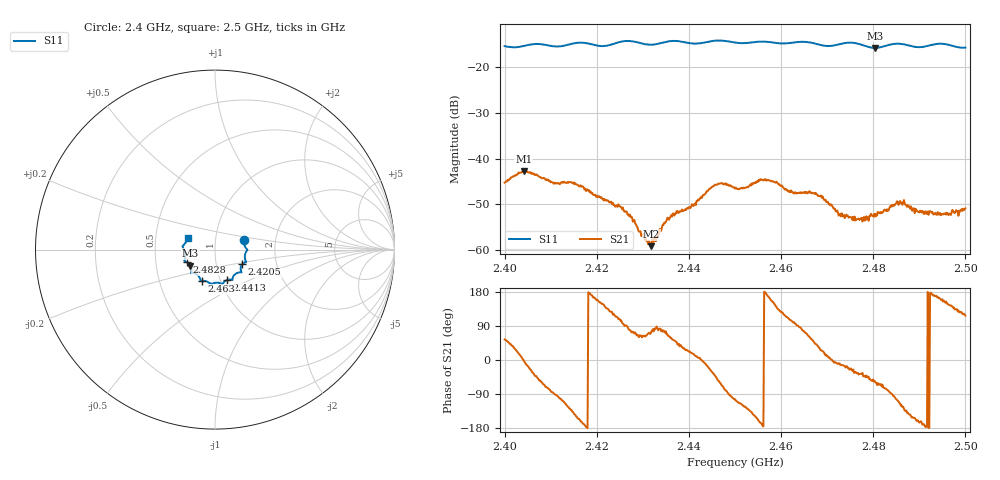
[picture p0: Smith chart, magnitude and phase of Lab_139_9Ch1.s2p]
# Hz S RI R 50
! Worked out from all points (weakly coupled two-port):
!   601 points, 2.4 GHz to 2.5 GHz, reference 50 ohm
!   highest |S21| = -42.68 dB at 2.4042 GHz (marker M1); lowest = -59.1 dB at 2.4318 GHz (marker M2)
!   lowest |S11| = -15.7 dB at 2.4803 GHz (marker M3), VSWR 1.39, Z = 37.4 - j6.83 ohm
!   |S11| at or under -10 dB: start of sweep to end of sweep
!   S12 and S22 are empty: the file has one direction only
!   S11 on the Smith chart (normalised r, x): 2.4 GHz: 1.38, +0.15; 2.4205 GHz: 1.34, -0.22; 2.4413 GHz: 1.08, -0.38; 2.463 GHz: 0.82, -0.29; 2.4828 GHz: 0.72, -0.10; 2.5 GHz: 0.73, +0.10
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2.4e9  0.163 0.0521  0.00321 0.00444  0 0  0 0
2.404167e9  0.1717 0.00895  0.00734 -0.000237  0 0  0 0
2.416667e9  0.1733 -0.0697  -0.0047 -0.00147  0 0  0 0
2.4205e9  0.1519 -0.081  -0.00349 0.00173  0 0  0 0
2.425167e9  0.1464 -0.1223  -0.000685 0.0029  0 0  0 0
2.431833e9  0.1101 -0.1391  0.00028 0.00107  0 0  0 0
2.433333e9  0.1004 -0.1515  0.000284 0.00137  0 0  0 0
2.435667e9  0.0976 -0.1671  0.000994 0.00191  0 0  0 0
2.441333e9  0.0675 -0.1694  0.00318 0.000637  0 0  0 0
2.446e9  0.0419 -0.1924  0.0035 -0.00381  0 0  0 0
2.45e9  0.0247 -0.1859  -0.0011 -0.00458  0 0  0 0
2.456833e9  -0.0244 -0.1894  -0.00571 0.000656  0 0  0 0
2.463e9  -0.072 -0.1739  -0.000486 0.00427  0 0  0 0
2.466667e9  -0.0817 -0.1673  0.00246 0.00339  0 0  0 0
2.473e9  -0.1259 -0.13  0.00229 -0.000504  0 0  0 0
2.476667e9  -0.1318 -0.1254  0.00183 -0.00122  0 0  0 0
2.480333e9  -0.1373 -0.0889  0.0013 -0.00192  0 0  0 0
2.482833e9  -0.1587 -0.0699  0.000608 -0.0026  0 0  0 0
2.483333e9  -0.1626 -0.0681  0.000405 -0.0027  0 0  0 0
2.486167e9  -0.1701 -0.0608  -0.00164 -0.00288  0 0  0 0
2.4915e9  -0.1704 -0.00381  -0.00248 -0.000224  0 0  0 0
2.5e9  -0.1519 0.064  -0.0013 0.00256  0 0  0 0
